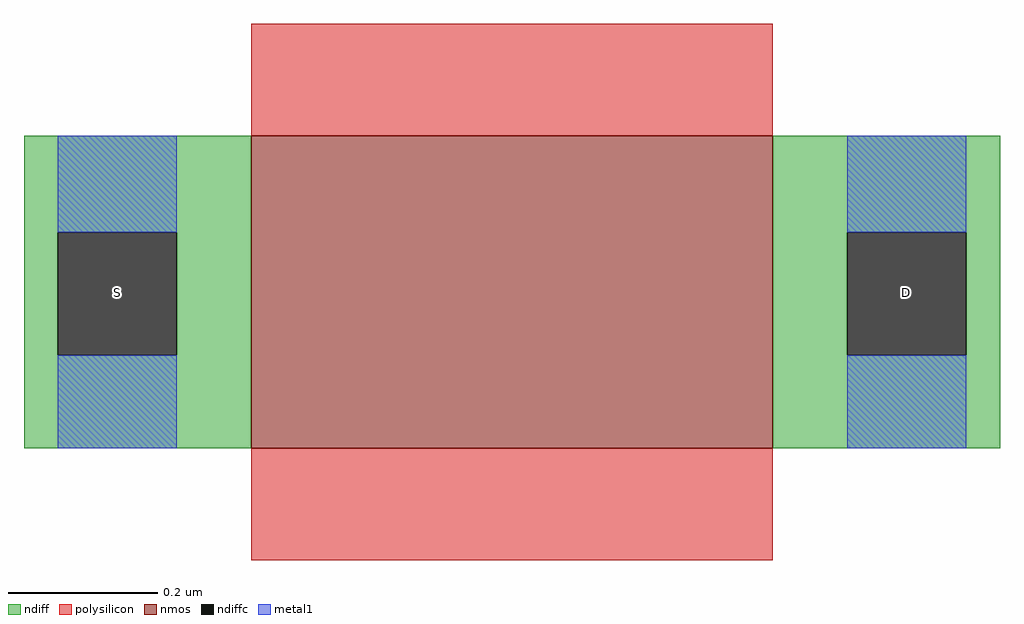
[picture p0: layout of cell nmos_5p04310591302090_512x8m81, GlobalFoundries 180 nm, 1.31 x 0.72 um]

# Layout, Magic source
magic
tech gf180mcuD
magscale 1 10
<< nmos >>
rect 0 0 140 84
<< ndiff >>
rect -61 58 0 84
rect -61 25 -52 58
rect -20 25 0 58
rect -61 0 0 25
rect 140 58 201 84
rect 140 25 160 58
rect 192 25 201 58
rect 140 0 201 25
<< ndiffc >>
rect -52 25 -20 58
rect 160 25 192 58
<< polysilicon >>
rect 0 84 140 114
rect 0 -30 140 0
<< metal1 >>
rect -52 58 -20 84
rect -52 0 -20 25
rect 160 58 192 84
rect 160 0 192 25
<< labels >>
flabel ndiffc -36 42 -36 42 0 FreeSans 140 0 0 0 S
flabel ndiffc 176 42 176 42 0 FreeSans 140 0 0 0 D
<< end >>
